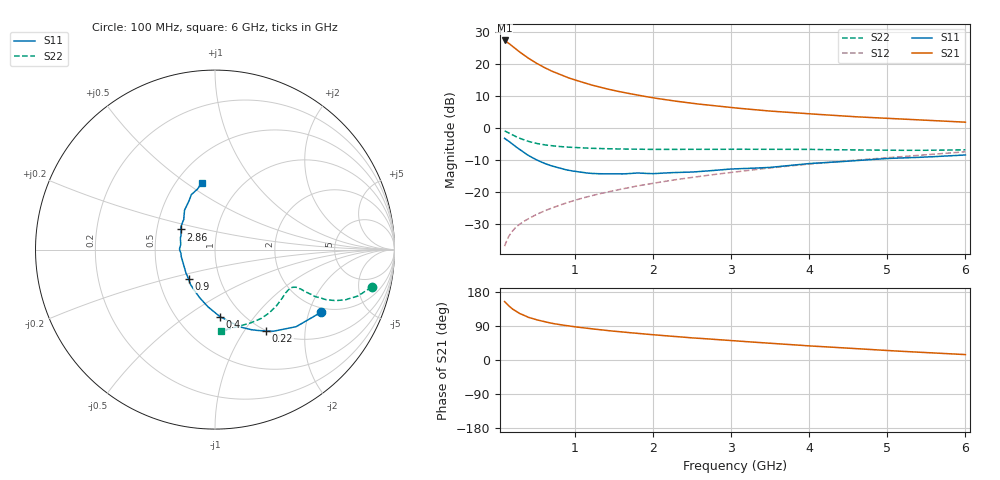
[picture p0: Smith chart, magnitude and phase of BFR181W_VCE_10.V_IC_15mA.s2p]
! Infineon Technologies  Discrete & RF Semiconductors
! BFR181W
! VCE =  10. V,  IC =  15 mA
! Common Emitter S-Parameters:  Nov 2015
# GHz  S  MA  R  50
!  f  S11  S21  S12  S22
! GHz  MAG  ANG  MAG  ANG  MAG  ANG  MAG  ANG
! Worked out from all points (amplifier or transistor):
!   192 points, 100 MHz to 6 GHz, reference 50 ohm
!   highest |S21| = 27.3 dB at 100 MHz (marker M1)
!   |S21| within 3 dB of that: start of sweep to 262.8 MHz
!   unconditionally stable (mu >= 1): 1.017 GHz to 2.949 GHz
!   at 440 MHz: K = 0.76, MSG = 24.5 dB, |S12| = -27.9 dB
!   at 1.7 GHz: K = 1.05, MAG = 13.3 dB, |S12| = -18.6 dB
!   at 6 GHz: K = 0.81, MSG = 4.6 dB, |S12| = -7.5 dB
!   S11 on the Smith chart (normalised r, x): 100 MHz: 1.83, -2.42; 220 MHz: 0.99, -1.26; 400 MHz: 0.79, -0.69; 900 MHz: 0.71, -0.24; 2.86 GHz: 0.67, +0.16; 6 GHz: 0.66, +0.57
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0.1  0.6869 -30.5  23.05 154.1  0.0143 73.4  0.8981 -13.4
0.15  0.6237 -43.5  20.92 143.4  0.02 70.3  0.8368 -18.0
0.2  0.5599 -54.3  18.77 134.7  0.0245 67.6  0.7777 -21.1
0.22  0.535 -57.9  17.95 132.1  0.0262 66.8  0.7562 -21.9
0.26  0.4917 -65.3  16.42 126.7  0.0293 65.6  0.7156 -23.3
0.3  0.4545 -71.8  15.01 121.9  0.0319 64.9  0.6814 -24.2
0.4  0.3745 -85.8  12.29 112.9  0.038 64.8  0.6167 -25.1
0.5  0.3211 -97.0  10.31 106.5  0.0441 65.4  0.5747 -25.0
0.6  0.2832 -107.1  8.84 101.4  0.0501 66.1  0.5458 -24.9
0.7  0.2558 -116.6  7.699 97.0  0.0559 67.2  0.5264 -24.7
0.8  0.2373 -125.1  6.846 93.4  0.0619 68.1  0.5121 -24.8
0.9  0.2201 -131.9  6.123 90.4  0.068 68.6  0.5015 -24.8
1.1  0.2015 -145.7  5.135 85.2  0.0805 69.5  0.4871 -25.5
1.2  0.1953 -152.3  4.702 82.5  0.0867 69.7  0.4804 -25.9
1.5  0.192 -168.0  3.821 75.9  0.105 70.0  0.4695 -27.8
1.8  0.1979 179.3  3.24 70.3  0.1243 70.0  0.4634 -30.0
2.08  0.1954 168.9  2.84 65.3  0.1418 69.7  0.4616 -32.7
2.86  0.2209 149.4  2.161 53.3  0.1924 67.8  0.4631 -41.0
3.1  0.2304 144.4  2.019 49.8  0.2088 66.9  0.4637 -44.1
4.1  0.282 125.9  1.627 36.1  0.2791 62.5  0.4595 -57.9
5.1  0.3361 111.9  1.388 23.9  0.3498 57.4  0.4471 -72.6
6  0.3776 101.3  1.226 14.3  0.4234 52.5  0.4551 -85.6
